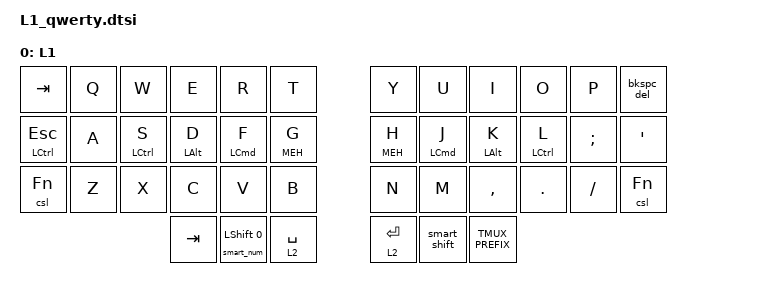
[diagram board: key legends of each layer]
/**
 * Alpha Layer - QWERTY
 */

/ {
  keymap {
    compatible = "zmk,keymap";

    qwerty_layer {
      display-name = "L1";
      bindings = <
// ╭───────────────┬───────────────┬───────────────┬───────────────┬───────────────┬───────────────╮   ╭───────────────┬───────────────┬───────────────┬───────────────┬───────────────┬───────────────╮
// │0              │1              │2              │3              │4              │5              │   │6              │7              │8              │9              │10             │11             │
    &kp TAB         &kp Q           &kp W           &kp E           &kp R           &kp T               &kp Y           &kp U           &kp I           &kp O           &kp P           &bkspc_del
// ├───────────────├───────────────┼───────────────┼───────────────┼───────────────┼───────────────┤   ├───────────────├───────────────┼───────────────┼───────────────┼───────────────┼───────────────┤
// │12             │13             │14             │15             │16             │17             │   │18             │19             │20             │21             │22             │23             │
    &mt LCTRL ESC   &kp A           &hrml LCTRL S   &hrml LALT D    &hrml LCMD F    &hrml MEH G         &hrmr MEH H     &hrmr LCMD J    &hrmr LALT K    &hrmr LCTRL L   &kp SEMICOLON   &kp SQT
// ├───────────────├───────────────┼───────────────┼───────────────┼───────────────┼───────────────┤   ├───────────────├───────────────┼───────────────┼───────────────┼───────────────┼───────────────┤
// │24             │25             │26             │27             │28             │29             │   │30             │31             │32             │33             │34             │35             │
    &csl Fn         &kp Z           &kp X           &kp C           &kp V           &kp B               &kp N           &kp M           &kp COMMA       &kp DOT         &kp SLASH       &csl Fn
// ╰───────────────┴───────────────┴───────────────┼───────────────┼───────────────┼───────────────┤   ├───────────────├───────────────┼───────────────┼───────────────┴───────────────┴───────────────╯
//                                                 │36             │37             │38             │   │39             │40             │41             │
                                                    &kp TAB     &smart_num LSHFT 0  &lt L2 SPACE        &lt L2 ENTER    &smart_shift    &kp TMUX_PREFIX
//                                                 ╰───────────────┴───────────────┴───────────────╯   ╰───────────────┴───────────────┴───────────────╯
      >;
    };
  };
};

